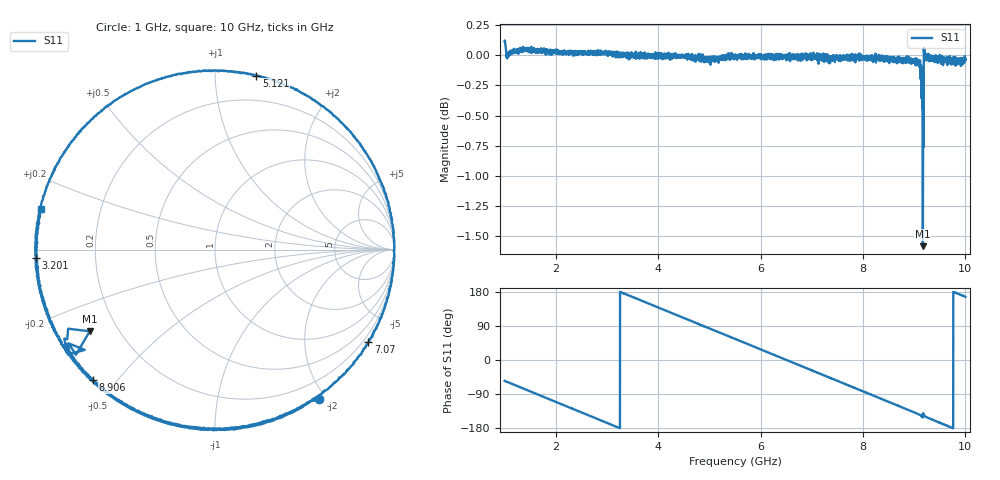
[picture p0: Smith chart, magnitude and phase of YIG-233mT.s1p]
#  HZ  S  RI  R  50.0
! Rohde & Schwarz ZVL13 2Ports - Version 3.31 - 1303.6509k13 SN: 101088
! Date: 2023-03-02 17:03:37
! Data & Calibration Information:
! Trc2:S21(Trans Norm)
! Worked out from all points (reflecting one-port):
!   4000 points, 1 GHz to 10 GHz, reference 50 ohm
!   lowest |S11| = -1.6 dB at 9.17 GHz (marker M1), VSWR 10.98, Z = 4.95 - j14.7 ohm
!   phase of S11 starts at -55 deg and turns -498 deg over the sweep
!   S11 on the Smith chart (normalised r, x): 1 GHz: -0.03, -1.92; 3.201 GHz: -0.00, -0.02; 5.121 GHz: 0.00, +1.27; 7.07 GHz: 0.02, -3.59; 8.906 GHz: 0.00, -0.43; 10 GHz: 0.00, +0.12
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1e9  0.5817 -0.8301
1.555889e9  0.0722 -1.003
1.850713e9  -0.2141 -0.9814
2.125281e9  -0.4634 -0.8882
2.692423e9  -0.8599 -0.5164
3.20105e9  -0.9999 -0.0485
3.250563e9  -0.998 -0.00173
3.516129e9  -0.968 0.2542
3.781695e9  -0.8691 0.489
4.375844e9  -0.4662 0.8849
4.749437e9  -0.1226 0.9897
5.12078e9  0.2307 0.9695
5.501125e9  0.5641 0.823
5.807202e9  0.7777 0.6259
6.084021e9  0.9168 0.3967
6.35859e9  0.9867 0.145
6.626407e9  0.9924 -0.1173
7.069767e9  0.8535 -0.5162
7.4006e9  0.6511 -0.7562
7.751688e9  0.3614 -0.9267
8.035259e9  0.0938 -0.9918
8.305326e9  -0.1655 -0.9867
8.575394e9  -0.4152 -0.9048
8.876969e9  -0.659 -0.7477
8.906227e9  -0.681 -0.7278
9.169542e9  -0.6977 -0.4552
9.543136e9  -0.9725 -0.2047
1e10  -0.9695 0.2276
